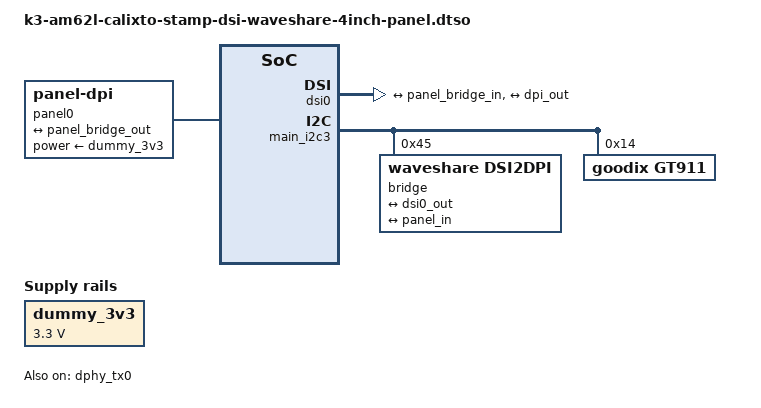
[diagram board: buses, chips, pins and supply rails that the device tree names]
// SPDX-License-Identifier: GPL-2.0-or-later OR MIT
/dts-v1/;
/plugin/;
#include <dt-bindings/gpio/gpio.h>
#include <dt-bindings/interrupt-controller/irq.h>

#include "k3-pinctrl.h"

&{/} {

	
	dummy_3v3: dummy-3v3 {
        compatible = "regulator-fixed";
        regulator-name = "dummy_3v3";
        regulator-min-microvolt = <3300000>;
        regulator-max-microvolt = <3300000>;
        regulator-always-on;
        regulator-boot-on;
    };
    
    panel0 {
        compatible = "panel-dpi";
        rotation = <270>;  /* 90, 270 */
        power-supply = <&dummy_3v3>;
        width-mm = <154>;
        height-mm = <86>;

        panel-timing {         
    		clock-frequency = <30850000>;
    		hactive = <480>;
    		vactive = <890>;
    		hback-porch = <40>;
    		hfront-porch = <40>;
    		hsync-len = <10>;
    		vback-porch = <13>;
    		vfront-porch = <3>;
    		vsync-len = <3>;
    		de-active = <1>;
    		pixelclk-active = <0>;
	    };

        port {
            panel_in: endpoint {
                remote-endpoint = <&panel_bridge_out>;
            };
        };
    };
}; 

&dss_ports {
    #address-cells = <1>;
    #size-cells = <0>;
    port@0 {
        reg = <0>;
        dpi_out: endpoint {
            remote-endpoint = <&dsi0_in>;
        };
    };
};

&dsi0 {
    status = "okay";
    ports {
        #address-cells = <1>;
        #size-cells = <0>;

        /* port0 = OUTPUT to bridge (DSI_OUTPUT_PORT=0) */
        port@0 {
            reg = <0>;
            dsi0_out: endpoint {
                data-lanes = <1 2>;
                remote-endpoint = <&panel_bridge_in>;
            };
        };

        /* port1 = INPUT from DSS */
        port@1 {
            reg = <1>;
            dsi0_in: endpoint {
                remote-endpoint = <&dpi_out>;
            };
        };
    };
};


&dphy_tx0 {
    status = "okay";
};

&main_i2c3 {
    #address-cells = <1>;
    #size-cells = <0>;

    bridge@45 {
        compatible = "waveshare,dsi2dpi";
        reg = <0x45>;
        ports {
            #address-cells = <1>;
            #size-cells = <0>;
            port@0 {
                reg = <0>;
                panel_bridge_in: endpoint {
                    remote-endpoint = <&dsi0_out>;
                };
            };
            port@1 {
                reg = <1>;
                panel_bridge_out: endpoint {
                    remote-endpoint = <&panel_in>;
                };
            };
        };
    };
    
    gt911: gt911@14 {
        compatible = "goodix,gt911";
        reg = <0x14>;
        touchscreen-size-x = <890>;
        touchscreen-size-y = <480>;
        touchscreen-swapped-x-y;
        touchscreen-inverted-x; 
    };
}; 
